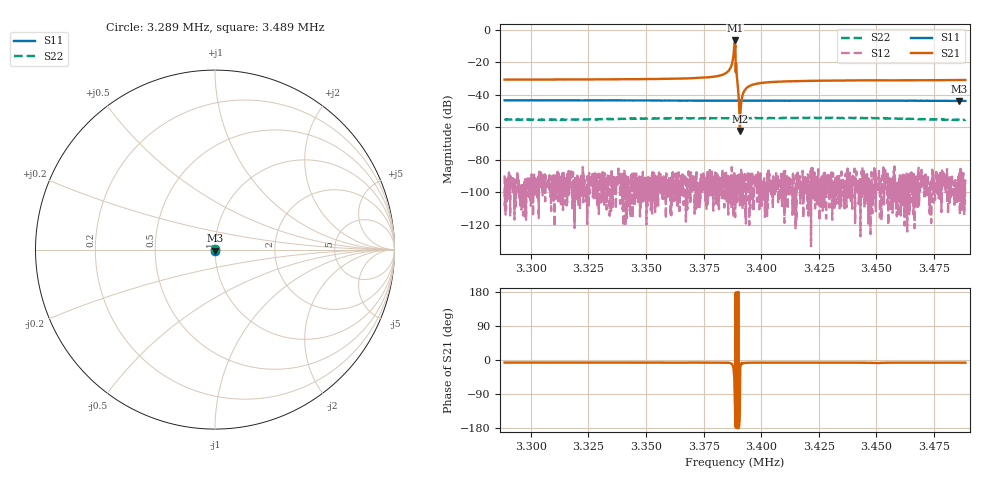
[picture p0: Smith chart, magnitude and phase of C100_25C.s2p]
# Hz S dB R 50.000
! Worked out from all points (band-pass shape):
!   6401 points, 3.289 MHz to 3.489 MHz, reference 50 ohm
!   highest |S21| = -6.52 dB at 3.389 MHz (marker M1); lowest = -62.2 dB at 3.391 MHz (marker M2)
!   |S21| within 3 dB of the highest: 3.388341 MHz to 3.388662 MHz (321.5 Hz wide, 0.00949 % of centre)
!   lowest |S11| = -43.7 dB at 3.486 MHz (marker M3), VSWR 1.01, Z = 49.9 - j0.648 ohm
!   |S11| at or under -10 dB: start of sweep to end of sweep
!   |S22| runs from -55.6 to -54.0 dB; largest |S21 - S12| = 0.47
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3288594  -43.34 -94.8  -30.61 -6.7  -89.51 136.6  -54.75 87.6
3321938  -43.35 -95.3  -30.49 -6.8  -95.53 53.1  -54.99 85.2
3355282  -43.44 -96.6  -30.19 -6.9  -98.00 142.7  -54.35 84.5
3382188  -43.52 -96.4  -28.02 -7.2  -95.61 -158.2  -54.26 87.7
3385625  -43.54 -96.2  -25.49 -7.6  -100.93 130.4  -54.34 86.7
3386844  -43.55 -96.0  -22.87 -9.0  -95.76 -54.8  -54.28 87.4
3387469  -43.55 -96.2  -19.73 -12.4  -89.53 89.6  -54.36 87.7
3387844  -43.54 -96.2  -16.83 -20.2  -96.99 92.5  -54.42 87.6
3388594  -43.58 -96.1  -6.52 -117.7  -94.10 141.6  -54.10 91.8
3389219  -43.52 -96.1  -24.91 -170.5  -94.85 74.0  -54.26 88.2
3389906  -43.56 -96.3  -36.22 -179.1  -95.77 -144.7  -54.29 88.2
3390313  -43.53 -95.8  -44.74 -176.9  -88.96 63.3  -54.21 88.5
3390719  -43.57 -95.9  -62.23 -99.7  -107.97 -10.4  -54.19 89.2
3391375  -43.55 -95.8  -43.99 -8.4  -89.60 -50.3  -54.25 88.8
3392125  -43.54 -96.1  -39.06 -8.1  -95.79 116.7  -54.25 88.5
3393000  -43.57 -96.2  -36.75 -7.8  -90.65 6.8  -54.22 87.8
3396344  -43.59 -96.0  -33.71 -7.1  -102.70 27.5  -54.24 88.0
3404656  -43.53 -95.9  -32.08 -6.9  -100.63 31.3  -54.24 88.9
3421938  -43.54 -95.8  -31.36 -6.9  -88.59 46.4  -54.29 87.3
3455282  -43.52 -96.2  -31.08 -7.2  -95.51 179.1  -54.52 82.0
3485938  -43.71 -96.0  -30.85 -7.2  -91.87 121.0  -55.26 80.0
3488594  -43.70 -95.8  -30.87 -7.1  -92.02 35.7  -55.27 80.2
